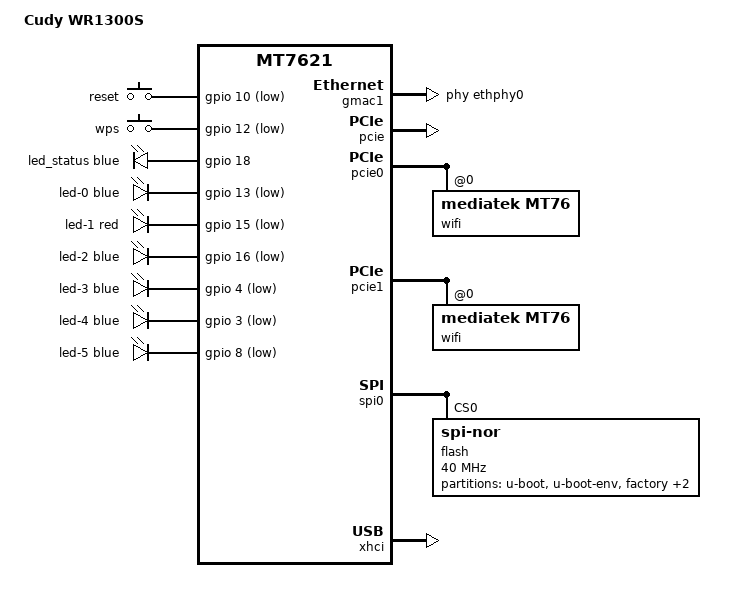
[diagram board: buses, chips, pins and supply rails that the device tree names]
// SPDX-License-Identifier: GPL-2.0-or-later OR MIT

/dts-v1/;

#include "mt7621.dtsi"
#include <dt-bindings/gpio/gpio.h>
#include <dt-bindings/input/input.h>
#include <dt-bindings/leds/common.h>

/ {
	compatible = "cudy,wr1300s", "mediatek,mt7621-soc";
	model = "Cudy WR1300S";

	chosen {
		bootargs = "console=ttyS0,115200";
	};

	aliases {
		led-boot = &led_status;
		led-failsafe = &led_status;
		led-running = &led_status;
		led-upgrade = &led_status;
		label-mac-device = &gmac0;
	};

	keys {
		compatible = "gpio-keys";

		reset {
			label = "reset";
			gpios = <&gpio 10 GPIO_ACTIVE_LOW>;
			linux,code = <KEY_RESTART>;
		};

		wps {
			label = "wps";
			gpios = <&gpio 12 GPIO_ACTIVE_LOW>;
			linux,code = <KEY_WPS_BUTTON>;
		};
	};

	leds {
		compatible = "gpio-leds";

		led_status: status {
			function = LED_FUNCTION_STATUS;
			color = <LED_COLOR_ID_BLUE>;
			gpios = <&gpio 18 GPIO_ACTIVE_HIGH>;
			default-state = "on";
		};

		led-0 {
			function = LED_FUNCTION_WAN_ONLINE;
			color = <LED_COLOR_ID_BLUE>;
			gpios = <&gpio 13 GPIO_ACTIVE_LOW>;
		};

		led-1 {
			function = LED_FUNCTION_FAULT;
			color = <LED_COLOR_ID_RED>;
			gpios = <&gpio 15 GPIO_ACTIVE_LOW>;
		};

		led-2 {
			function = LED_FUNCTION_WAN;
			color = <LED_COLOR_ID_BLUE>;
			gpios = <&gpio 16 GPIO_ACTIVE_LOW>;
		};

		led-3 {
			function = LED_FUNCTION_LAN;
			color = <LED_COLOR_ID_BLUE>;
			gpios = <&gpio 4 GPIO_ACTIVE_LOW>;
		};

		led-4 {
			function = LED_FUNCTION_WLAN_2GHZ;
			color = <LED_COLOR_ID_BLUE>;
			gpios = <&gpio 3 GPIO_ACTIVE_LOW>;
			linux,default-trigger = "phy0tpt";
		};

		led-5 {
			function = LED_FUNCTION_WLAN_5GHZ;
			color = <LED_COLOR_ID_BLUE>;
			gpios = <&gpio 8 GPIO_ACTIVE_LOW>;
			linux,default-trigger = "phy1tpt";
		};
	};
};

&ethphy0 {
	/delete-property/ interrupts;
};

&gmac0 {
	nvmem-cells = <&macaddr_bdinfo_de00 0>;
	nvmem-cell-names = "mac-address";
};

&gmac1 {
	status = "okay";
	label = "wan";
	phy-handle = <&ethphy0>;
	nvmem-cells = <&macaddr_bdinfo_de00 1>;
	nvmem-cell-names = "mac-address";
};

&pcie {
	status = "okay";
};

&pcie0 {
	status = "okay";

	wifi@0,0 {
		compatible = "mediatek,mt76";
		reg = <0x0000 0 0 0 0>;
		nvmem-cells = <&eeprom_factory_0>, <&macaddr_bdinfo_de00 0>;
		nvmem-cell-names = "eeprom", "mac-address";
		ieee80211-freq-limit = <2400000 2500000>;
	};
};

&pcie1 {
	status = "okay";

	wifi@0,0 {
		compatible = "mediatek,mt76";
		reg = <0x0000 0 0 0 0>;
		nvmem-cells = <&eeprom_factory_8000>, <&macaddr_bdinfo_de00 2>;
		nvmem-cell-names = "eeprom", "mac-address";
		ieee80211-freq-limit = <5000000 6000000>;
	};
};

&reg_vbus {
	/delete-property/ regulator-always-on;
	gpios = <&gpio 7 GPIO_ACTIVE_HIGH>;
	enable-active-high;
};

&spi0 {
	status = "okay";

	flash@0 {
		compatible = "jedec,spi-nor";
		reg = <0>;
		spi-max-frequency = <40000000>;

		partitions {
			compatible = "fixed-partitions";
			#address-cells = <1>;
			#size-cells = <1>;

			partition@0 {
				label = "u-boot";
				reg = <0x000000 0x030000>;
				read-only;
			};

			partition@30000 {
				label = "u-boot-env";
				reg = <0x030000 0x010000>;
				read-only;
			};

			factory: partition@40000 {
				label = "factory";
				reg = <0x040000 0x010000>;
				read-only;

				nvmem-layout {
					compatible = "fixed-layout";
					#address-cells = <1>;
					#size-cells = <1>;

					eeprom_factory_0: eeprom@0 {
						reg = <0x0000 0x400>;
					};

					eeprom_factory_8000: eeprom@8000 {
						reg = <0x8000 0x4da8>;
					};
				};
			};

			partition@50000 {
				compatible = "denx,uimage";
				label = "firmware";
				reg = <0x050000 0xfa0000>;
			};

			partition@ff0000 {
				label = "bdinfo";
				reg = <0xff0000 0x010000>;
				read-only;

				nvmem-layout {
					compatible = "fixed-layout";
					#address-cells = <1>;
					#size-cells = <1>;

					macaddr_bdinfo_de00: macaddr@de00 {
						compatible = "mac-base";
						reg = <0xde00 0x6>;
						#nvmem-cell-cells = <1>;
					};
				};
			};
		};
	};
};

&state_default {
	gpio {
		groups = "i2c", "jtag", "uart2", "uart3", "wdt";
		function = "gpio";
	};
};

&switch0 {
	ports {
		port@1 {
			status = "okay";
			label = "lan1";
		};

		port@2 {
			status = "okay";
			label = "lan2";
		};

		port@3 {
			status = "okay";
			label = "lan3";
		};

		port@4 {
			status = "okay";
			label = "lan4";
		};
	};
};

&xhci {
	status = "okay";
};
